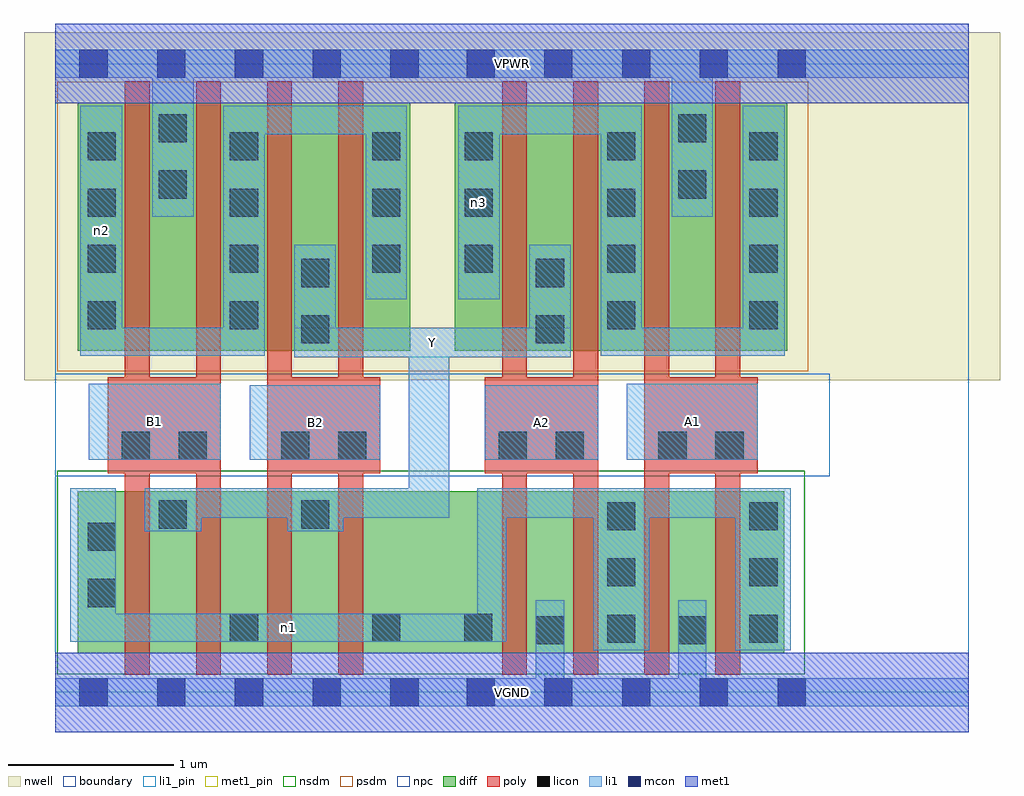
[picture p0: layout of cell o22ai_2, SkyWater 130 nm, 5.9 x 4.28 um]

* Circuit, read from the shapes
.subckt o22ai_2 A1 A2 B1 B2 VGND VPWR Y n1 n2 n3
XM1 Y B1 n1 VSUBS sky130_fd_pr__nfet_01v8 w=0.98 l=0.15 m=2
XM2 Y B2 n1 VSUBS sky130_fd_pr__nfet_01v8 w=0.98 l=0.15 m=2
XM3 VGND A2 n1 VSUBS sky130_fd_pr__nfet_01v8 w=0.98 l=0.15 m=2
XM4 VGND A1 n1 VSUBS sky130_fd_pr__nfet_01v8 w=0.98 l=0.15 m=2
XM5 VPWR B1 n2 n4 sky130_fd_pr__pfet_01v8 w=1.5 l=0.15 m=2
XM6 Y B2 n2 n4 sky130_fd_pr__pfet_01v8 w=1.5 l=0.15 m=2
XM7 Y A2 n3 n4 sky130_fd_pr__pfet_01v8 w=1.5 l=0.15 m=2
XM8 VPWR A1 n3 n4 sky130_fd_pr__pfet_01v8 w=1.5 l=0.15 m=2
.ends

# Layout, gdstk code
import gdstk
lib = gdstk.Library(unit=1e-6, precision=1e-09)
def R(c, l, rs):  # rectangles x0, y0, x1, y1
    for r in rs: c.add(gdstk.rectangle(r[:2], r[2:], *l))
def A(c, l, x, y, w, h, nx, ny, dx, dy):  # array of equal rectangles
    R(c, l, [(x+i*dx, y+j*dy, x+i*dx+w, y+j*dy+h) for i in range(nx) for j in range(ny)])
nwell = (64, 20)
diff = (65, 20)
poly = (66, 20)
licon = (66, 44)
li1_pin = (67, 16)
li1 = (67, 20)
mcon = (67, 44)
met1_pin = (68, 16)
met1 = (68, 20)
nsdm = (93, 44)
psdm = (94, 20)
npc = (95, 20)
boundary = (235, 4)

o22ai_2 = lib.new_cell('o22ai_2')
R(o22ai_2, nwell, [(-0.19,1.885,5.71,3.99), (0,1.885,5.52,3.99)])
R(o22ai_2, diff, [(0.135,0.235,4.405,1.215), (0.135,2.065,2.145,3.565), (2.415,2.065,4.425,3.565)])
A(o22ai_2, poly, 0.42, 0.105, 0.15, 3.59, 4, 1, 0.43, 0)
A(o22ai_2, poly, 2.7, 0.105, 0.15, 3.59, 4, 1, 0.43, 0)
R(o22ai_2, poly, [(0.315,1.325,1,1.905), (1.28,1.325,1.965,1.905), (2.595,1.325,3.28,1.905), (3.56,1.325,4.245,1.905)])
A(o22ai_2, licon, 3.335, 0.3, 0.17, 0.17, 1, 3, 0, 0.34)
A(o22ai_2, licon, 4.195, 0.3, 0.17, 0.17, 1, 3, 0, 0.34)
A(o22ai_2, licon, 0.195, 2.535, 0.17, 0.17, 3, 3, 0.86, 0.34)
A(o22ai_2, licon, 2.475, 2.535, 0.17, 0.17, 3, 3, 0.86, 0.34)
R(o22ai_2, licon, [(2.905,0.29,3.075,0.46), (3.765,0.29,3.935,0.46), (1.055,0.305,1.225,0.475), (1.915,0.305,2.085,0.475), (2.47,0.305,2.64,0.475), (0.195,0.515,0.365,0.685), (0.195,0.855,0.365,1.025), (0.625,0.99,0.795,1.16), (1.485,0.99,1.655,1.16), (0.4,1.405,0.57,1.575), (0.745,1.405,0.915,1.575), (1.365,1.405,1.535,1.575), (1.71,1.405,1.88,1.575), (2.68,1.405,2.85,1.575), (3.025,1.405,3.195,1.575), (3.645,1.405,3.815,1.575), (3.99,1.405,4.16,1.575), (1.485,2.11,1.655,2.28), (2.905,2.11,3.075,2.28), (0.195,2.195,0.365,2.365), (1.055,2.195,1.225,2.365), (3.335,2.195,3.505,2.365), (4.195,2.195,4.365,2.365), (1.485,2.45,1.655,2.62), (2.905,2.45,3.075,2.62), (0.625,2.985,0.795,3.155), (3.765,2.985,3.935,3.155), (0.625,3.325,0.795,3.495), (3.765,3.325,3.935,3.495)])
R(o22ai_2, li1_pin, [(0.2,1.405,1,1.865), (1.175,1.405,1.965,1.855), (2.595,1.405,3.28,1.855), (3.455,1.405,4.245,1.865), (1.445,2.025,3.115,2.205)])
R(o22ai_2, li1, [(0,-0.085,5.52,0.085), (2.905,-0.085,3.075,0.555), (3.765,-0.085,3.935,0.555), (3.25,0.255,3.59,1.235), (4.11,0.255,4.445,1.235), (0.09,0.305,2.725,0.475), (0.09,0.305,0.365,1.235), (2.55,0.305,2.725,1.235), (0.54,0.975,0.88,1.235), (1.4,0.975,1.74,1.235), (0.54,1.055,2.38,1.235), (2.135,1.055,2.38,2.205), (2.55,1.055,4.445,1.235), (0.2,1.405,1,1.865), (1.175,1.405,1.965,1.855), (2.595,1.405,3.28,1.855), (3.455,1.405,4.245,1.865), (1.445,2.025,3.115,2.205), (1.445,2.025,1.695,2.705), (2.865,2.025,3.115,2.705), (0.15,2.035,0.405,3.545), (0.15,2.035,1.265,2.205), (1.015,2.035,1.265,3.545), (3.295,2.035,4.41,2.205), (3.295,2.035,3.545,3.545), (4.155,2.035,4.41,3.545), (1.875,2.375,2.125,3.545), (2.435,2.375,2.685,3.545), (0.585,2.875,0.835,3.885), (3.725,2.875,3.975,3.885), (1.015,3.375,2.125,3.545), (2.435,3.375,3.545,3.545), (0,3.715,5.52,3.885)])
A(o22ai_2, mcon, 0.145, -0.085, 0.17, 0.17, 5, 2, 0.47, 3.8)
A(o22ai_2, mcon, 2.485, -0.085, 0.17, 0.17, 5, 2, 0.47, 3.8)
R(o22ai_2, met1_pin, [(0,-0.24,5.52,0.24), (0,3.56,5.52,4.04)])
R(o22ai_2, met1, [(0,-0.24,5.52,0.24), (0,3.56,5.52,4.04)])
R(o22ai_2, nsdm, [(0.01,0.11,4.53,1.34)])
R(o22ai_2, psdm, [(0.01,1.94,4.55,3.69)])
R(o22ai_2, npc, [(0,1.305,4.68,1.925)])
R(o22ai_2, boundary, [(0,0,5.52,3.8)])
o22ai_2.add(gdstk.Label('A1', (3.85,1.635), layer=67, texttype=5))
o22ai_2.add(gdstk.Label('A2', (2.937,1.63), layer=67, texttype=5))
o22ai_2.add(gdstk.Label('B1', (0.6,1.635), layer=67, texttype=5))
o22ai_2.add(gdstk.Label('B2', (1.57,1.63), layer=67, texttype=5))
o22ai_2.add(gdstk.Label('Y', (2.28,2.115), layer=67, texttype=5))
o22ai_2.add(gdstk.Label('n1', (1.407,0.39), layer=67, texttype=5))
o22ai_2.add(gdstk.Label('n2', (0.277,2.79), layer=67, texttype=5))
o22ai_2.add(gdstk.Label('n3', (2.56,2.96), layer=67, texttype=5))
o22ai_2.add(gdstk.Label('VPWR', (2.76,3.8), layer=68, texttype=5))
o22ai_2.add(gdstk.Label('VGND', (2.76,0), layer=68, texttype=5))
o22ai_2.add(gdstk.Label('A1', (3.85,1.635), layer=67, texttype=16))
o22ai_2.add(gdstk.Label('A2', (2.937,1.63), layer=67, texttype=16))
o22ai_2.add(gdstk.Label('B1', (0.6,1.635), layer=67, texttype=16))
o22ai_2.add(gdstk.Label('B2', (1.57,1.63), layer=67, texttype=16))
o22ai_2.add(gdstk.Label('Y', (2.28,2.115), layer=67, texttype=16))
o22ai_2.add(gdstk.Label('VPWR', (2.76,3.8), layer=68, texttype=16))
o22ai_2.add(gdstk.Label('VGND', (2.76,0), layer=68, texttype=16))

lib.write_gds('o22ai_2.gds')
